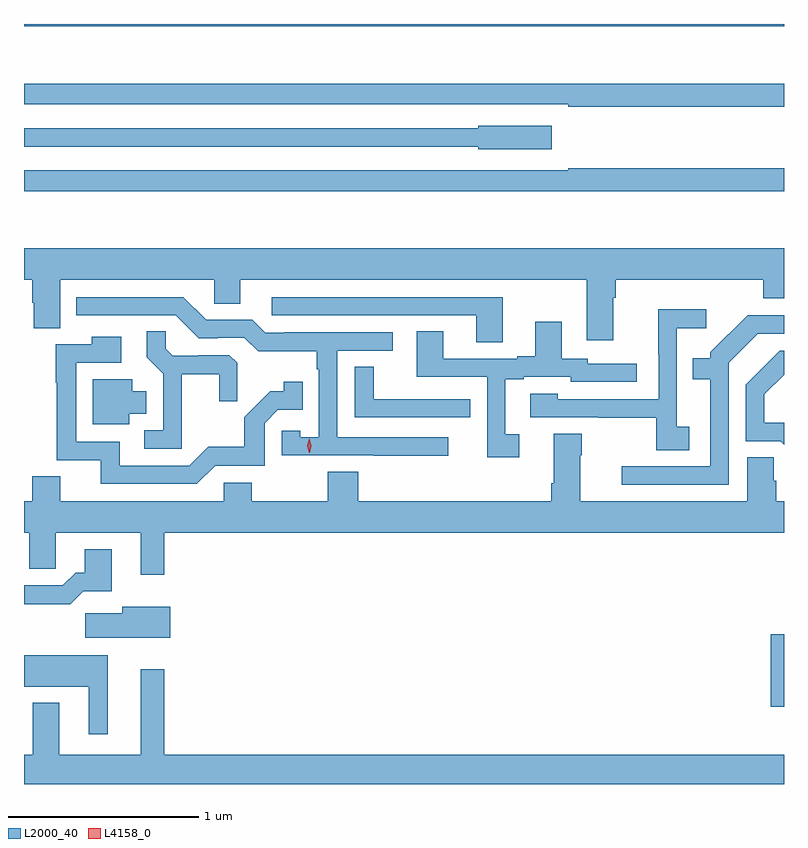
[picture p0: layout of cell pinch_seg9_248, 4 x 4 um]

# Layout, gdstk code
import gdstk
lib = gdstk.Library(unit=1e-6, precision=1e-09)
def R(c, l, rs):  # rectangles x0, y0, x1, y1
    for r in rs: c.add(gdstk.rectangle(r[:2], r[2:], *l))
def P(c, l, *ps):  # polygons
    for p in ps: c.add(gdstk.Polygon(p, *l))
L2000_40 = (2000, 40)
L4158_0 = (4158, 0)

pinch_seg9_248 = lib.new_cell('pinch_seg9_248')
R(pinch_seg9_248, L2000_40, [(445.274,1215.483,445.344,1215.864), (441.344,1219.064,445.344,1219.077)])
P(pinch_seg9_248, L2000_40, [(445.344,1218.763),(441.344,1218.763),(441.344,1218.654),(444.208,1218.654),(444.208,1218.642),(445.344,1218.642)],
  [(444.121,1218.541),(443.736,1218.541),(443.736,1218.528),(441.344,1218.528),(441.344,1218.432),(443.736,1218.432),(443.736,1218.419),(444.121,1218.419)],
  [(445.344,1218.319),(444.208,1218.319),(444.208,1218.306),(441.344,1218.306),(441.344,1218.198),(445.344,1218.198)],
  [(444.445,1217.636),(444.458,1217.636),(444.458,1217.732),(445.235,1217.732),(445.235,1217.633),(445.344,1217.633),(445.344,1217.896),(441.344,1217.896),(441.344,1217.732),(441.388,1217.732),(441.388,1217.61),(441.395,1217.61),(441.395,1217.476),(441.535,1217.476),(441.535,1217.732),(442.344,1217.732),(442.344,1217.605),(442.483,1217.605),(442.483,1217.732),(444.305,1217.732),(444.305,1217.412),(444.445,1217.412)],
  [(443.578,1216.902),(442.992,1216.902),(442.992,1217.358),(443.284,1217.358),(443.284,1217.454),(442.714,1217.454),(442.714,1217.451),(442.614,1217.451),(442.545,1217.52),(442.302,1217.52),(442.182,1217.64),(441.62,1217.64),(441.62,1217.544),(442.143,1217.544),(442.263,1217.424),(442.364,1217.424),(442.364,1217.427),(442.503,1217.427),(442.576,1217.354),(442.884,1217.354),(442.884,1217.261),(442.896,1217.261),(442.896,1216.903),(442.797,1216.903),(442.797,1216.935),(442.701,1216.935),(442.701,1216.806),(443.185,1216.806),(443.185,1216.804),(443.578,1216.804)],
  [(443.863,1217.64),(442.647,1217.64),(442.647,1217.544),(443.723,1217.544),(443.723,1217.401),(443.863,1217.401)],
  [(444.844,1216.956),(444.78,1216.956),(444.78,1217.477),(444.934,1217.477),(444.934,1217.575),(444.682,1217.575),(444.682,1217.336),(444.684,1217.336),(444.684,1217.103),(444.153,1217.103),(444.153,1217.131),(444.009,1217.131),(444.009,1217.007),(444.367,1217.007),(444.367,1217.005),(444.672,1217.005),(444.672,1216.834),(444.844,1216.834)],
  [(445.053,1217.295),(445.206,1217.448),(445.344,1217.448),(445.344,1217.544),(445.152,1217.544),(444.957,1217.349),(444.957,1217.317),(444.865,1217.317),(444.865,1217.208),(444.956,1217.208),(444.956,1216.749),(444.489,1216.749),(444.489,1216.653),(445.053,1216.653)],
  [(443.95,1216.917),(443.878,1216.917),(443.878,1217.208),(443.974,1217.208),(443.974,1217.22),(444.222,1217.22),(444.222,1217.193),(444.568,1217.193),(444.568,1217.289),(444.312,1217.289),(444.312,1217.316),(444.175,1217.316),(444.175,1217.509),(444.035,1217.509),(444.035,1217.329),(443.939,1217.329),(443.939,1217.316),(443.551,1217.316),(443.551,1217.459),(443.411,1217.459),(443.411,1217.22),(443.781,1217.22),(443.781,1216.797),(443.95,1216.797)],
  [(442.175,1217.234),(442.372,1217.234),(442.372,1217.091),(442.466,1217.091),(442.466,1217.293),(442.425,1217.334),(442.26,1217.334),(442.26,1217.331),(442.126,1217.331),(442.089,1217.368),(442.089,1217.459),(441.991,1217.459),(441.991,1217.323),(442.077,1217.237),(442.077,1216.938),(441.978,1216.938),(441.978,1216.842),(442.175,1216.842)],
  [(442.35,1216.752),(442.611,1216.752),(442.611,1216.977),(442.68,1217.046),(442.811,1217.046),(442.811,1217.194),(442.71,1217.194),(442.71,1217.144),(442.64,1217.144),(442.503,1217.006),(442.503,1216.851),(442.314,1216.851),(442.215,1216.752),(441.847,1216.752),(441.847,1216.878),(441.618,1216.878),(441.618,1217.295),(441.856,1217.295),(441.856,1217.431),(441.7,1217.431),(441.7,1217.391),(441.51,1217.391),(441.51,1217.188),(441.517,1217.188),(441.517,1216.782),(441.749,1216.782),(441.749,1216.656),(442.254,1216.656)],
  [(445.344,1216.978),(445.24,1216.978),(445.24,1217.128),(445.344,1217.232),(445.344,1217.358),(445.322,1217.358),(445.143,1217.179),(445.143,1216.881),(445.326,1216.881),(445.344,1216.863)],
  [(443.692,1217.102),(443.579,1217.102),(443.579,1217.103),(443.184,1217.103),(443.184,1217.273),(443.085,1217.273),(443.085,1217.007),(443.692,1217.007)],
  [(441.898,1217.027),(441.988,1217.027),(441.988,1217.143),(441.913,1217.143),(441.913,1217.206),(441.707,1217.206),(441.707,1216.97),(441.898,1216.97)],
  [(442.081,1216.4),(445.344,1216.4),(445.344,1216.564),(445.304,1216.564),(445.304,1216.674),(445.289,1216.674),(445.289,1216.796),(445.151,1216.796),(445.151,1216.564),(444.271,1216.564),(444.271,1216.808),(444.279,1216.808),(444.279,1216.921),(444.131,1216.921),(444.131,1216.66),(444.119,1216.66),(444.119,1216.564),(443.102,1216.564),(443.102,1216.721),(442.942,1216.721),(442.942,1216.564),(442.542,1216.564),(442.542,1216.662),(442.395,1216.662),(442.395,1216.564),(441.535,1216.564),(441.535,1216.697),(441.388,1216.697),(441.388,1216.564),(441.344,1216.564),(441.344,1216.4),(441.371,1216.4),(441.371,1216.21),(441.51,1216.21),(441.51,1216.4),(441.959,1216.4),(441.959,1216.179),(442.081,1216.179)],
  [(441.656,1216.091),(441.805,1216.091),(441.805,1216.312),(441.665,1216.312),(441.665,1216.189),(441.616,1216.189),(441.549,1216.122),(441.344,1216.122),(441.344,1216.022),(441.587,1216.022)],
  [(442.114,1216.009),(441.86,1216.009),(441.86,1215.977),(441.666,1215.977),(441.666,1215.848),(442.114,1215.848)],
  [(441.784,1215.754),(441.344,1215.754),(441.344,1215.59),(441.686,1215.59),(441.686,1215.339),(441.784,1215.339)],
  [(445.344,1215.232),(442.081,1215.232),(442.081,1215.682),(441.959,1215.682),(441.959,1215.232),(441.529,1215.232),(441.529,1215.505),(441.389,1215.505),(441.389,1215.232),(441.344,1215.232),(441.344,1215.077),(445.344,1215.077)])
P(pinch_seg9_248, L4158_0, [(442.846,1216.821),(442.836,1216.857),(442.845,1216.893),(442.845,1216.893),(442.845,1216.893),(442.856,1216.858),(442.847,1216.821),(442.847,1216.821)])

lib.write_gds('pinch_seg9_248.gds')
